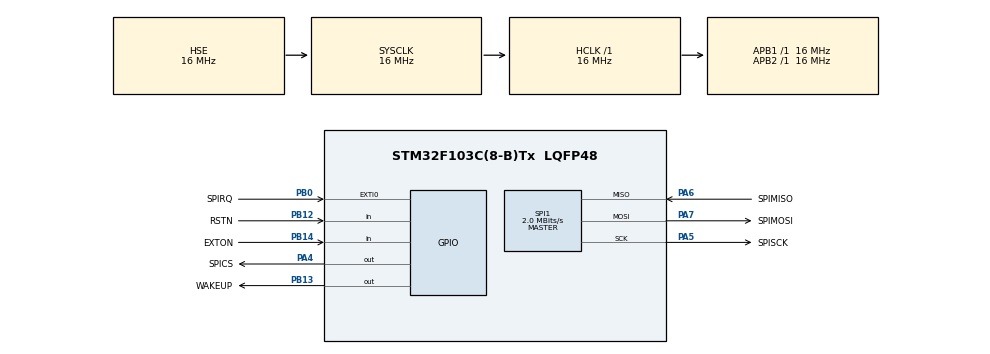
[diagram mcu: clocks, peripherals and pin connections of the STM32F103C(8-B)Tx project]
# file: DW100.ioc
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Mcu.Family=STM32F1
Mcu.Name=STM32F103C(8-B)Tx
Mcu.Package=LQFP48
NVIC.PriorityGroup=NVIC_PRIORITYGROUP_4
PA13.Mode=Serial_Wire
PA13.Signal=SYS_JTMS-SWDIO
PA14.Mode=Serial_Wire
PA14.Signal=SYS_JTCK-SWCLK
PA4.GPIO_Label=SPICS
PA4.Signal=GPIO_Output
PA5.GPIO_Label=SPISCK
PA5.Mode=Full_Duplex_Master
PA5.Signal=SPI1_SCK
PA6.GPIO_Label=SPIMISO
PA6.Mode=Full_Duplex_Master
PA6.Signal=SPI1_MISO
PA7.GPIO_Label=SPIMOSI
PA7.Mode=Full_Duplex_Master
PA7.Signal=SPI1_MOSI
PB0.GPIO_Label=SPIRQ
PB0.Signal=GPXTI0
PB12.GPIO_Label=RSTN
PB12.Signal=GPIO_Input
PB13.GPIO_Label=WAKEUP
PB13.GPIO_PuPd=GPIO_NOPULL
PB13.PinState=GPIO_PIN_RESET
PB13.Signal=GPIO_Output
PB14.GPIO_Label=EXTON
PB14.Signal=GPIO_Input
PD0-OSC_IN.Mode=HSE-External-Oscillator
PD0-OSC_IN.Signal=RCC_OSC_IN
PD1-OSC_OUT.Mode=HSE-External-Oscillator
PD1-OSC_OUT.Signal=RCC_OSC_OUT
ProjectManager.HeapSize=0x200
ProjectManager.StackSize=0x400
ProjectManager.TargetToolchain=STM32CubeIDE
RCC.AHBFreq_Value=16000000
RCC.APB1Freq_Value=16000000
RCC.APB1TimFreq_Value=16000000
RCC.APB2Freq_Value=16000000
RCC.APB2TimFreq_Value=16000000
RCC.HCLKFreq_Value=16000000
RCC.HSE_VALUE=16000000
RCC.SYSCLKFreq_VALUE=16000000
RCC.SYSCLKSource=RCC_SYSCLKSOURCE_HSE
SPI1.BaudRatePrescaler=SPI_BAUDRATEPRESCALER_8
SPI1.CalculateBaudRate=2.0 MBits/s
SPI1.Direction=SPI_DIRECTION_2LINES
SPI1.Mode=SPI_MODE_MASTER
SPI1.VirtualType=VM_MASTER
board=custom

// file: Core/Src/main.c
/* USER CODE BEGIN Header */
/**
  ******************************************************************************
  * @file           : main.c
  * @brief          : Main program body
  ******************************************************************************
  * @attention
  *
  * Copyright (c) 2025 STMicroelectronics.
  * All rights reserved.
  *
  * This software is licensed under terms that can be found in the LICENSE file
  * in the root directory of this software component.
  * If no LICENSE file comes with this software, it is provided AS-IS.
  *
  ******************************************************************************
  */
/* USER CODE END Header */
#include "main.h"

/* USER CODE BEGIN Includes */
#include "DWM1000.h"
/* USER CODE END Includes */

SPI_HandleTypeDef hspi1;

/* USER CODE BEGIN PV */
uint32_t DevID;
uint16_t pan_id, short_addr;
uint8_t dev_id[4]; // Buffer to store DEV_ID
uint8_t sys_cfg[4];
DW1000_Registers_t dw_registers;
uint8_t current_eui[8];
/* USER CODE END PV */

void SystemClock_Config(void);
static void MX_GPIO_Init(void);
static void MX_SPI1_Init(void);

int main(void)
{

  /* MCU Configuration--------------------------------------------------------*/

  /* Reset of all peripherals, Initializes the Flash interface and the Systick. */
  HAL_Init();

  /* Configure the system clock */
  SystemClock_Config();

  /* Initialize all configured peripherals */
  MX_GPIO_Init();
  MX_SPI1_Init();
  /* USER CODE BEGIN 2 */
  DevID= DW_ReadDevID();
  DW_ReadReg(DW_REG_SYS_CFG, sys_cfg, sizeof(sys_cfg));
  DW_ReadAllRegisters(&dw_registers);

  /* In your application code */
  uint8_t eui[8] = {0x01, 0x23, 0x45, 0x67, 0x89, 0xAB, 0xCD, 0xEF};

  if (DW_WriteAndVerifyEUI(eui) == HAL_OK) {
	  DW_ReadReg(DW_REG_EUI, current_eui, 8);

  } else {

      /* Debug output */

      DW_ReadReg(DW_REG_EUI, current_eui, 8);

      for (int i = 0; i < 8; i++) printf("%02X ", eui[i]);
      printf("\nActual:   ");
      for (int i = 0; i < 8; i++) printf("%02X ", current_eui[i]);
      printf("\n");
  }

  /* USER CODE END 2 */

  /* Infinite loop */
  while (1)
  {

    /* USER CODE BEGIN 3 */

	  /* Example: Send a UWB frame */
	  uint8_t frame_data[] = {0x41, 0x88, 0x00, 0xCA, 0xDE, 0xAD, 0xBE, 0xEF};

	  /* Configure for standard transmission */
	  if (DW_EnableTxMode(DW_TX_MODE_STANDARD) != HAL_OK) {

	  }

	  /* Disable TX when done */
	  DW_DisableTxMode();
	  HAL_Delay(100);

  }
  /* USER CODE END 3 */
}

void SystemClock_Config(void)
{
  RCC_OscInitTypeDef RCC_OscInitStruct = {0};
  RCC_ClkInitTypeDef RCC_ClkInitStruct = {0};

  /** Initializes the RCC Oscillators according to the specified parameters
  * in the RCC_OscInitTypeDef structure.
  */
  RCC_OscInitStruct.OscillatorType = RCC_OSCILLATORTYPE_HSE;
  RCC_OscInitStruct.HSEState = RCC_HSE_ON;
  RCC_OscInitStruct.PLL.PLLState = RCC_PLL_NONE;
  if (HAL_RCC_OscConfig(&RCC_OscInitStruct) != HAL_OK)
  {
    Error_Handler();
  }

  /** Initializes the CPU, AHB and APB buses clocks
  */
  RCC_ClkInitStruct.ClockType = RCC_CLOCKTYPE_HCLK|RCC_CLOCKTYPE_SYSCLK
                              |RCC_CLOCKTYPE_PCLK1|RCC_CLOCKTYPE_PCLK2;
  RCC_ClkInitStruct.SYSCLKSource = RCC_SYSCLKSOURCE_HSE;
  RCC_ClkInitStruct.AHBCLKDivider = RCC_SYSCLK_DIV1;
  RCC_ClkInitStruct.APB1CLKDivider = RCC_HCLK_DIV1;
  RCC_ClkInitStruct.APB2CLKDivider = RCC_HCLK_DIV1;

  if (HAL_RCC_ClockConfig(&RCC_ClkInitStruct, FLASH_LATENCY_0) != HAL_OK)
  {
    Error_Handler();
  }
}

static void MX_SPI1_Init(void)
{

  /* SPI1 parameter configuration*/
  hspi1.Instance = SPI1;
  hspi1.Init.Mode = SPI_MODE_MASTER;
  hspi1.Init.Direction = SPI_DIRECTION_2LINES;
  hspi1.Init.DataSize = SPI_DATASIZE_8BIT;
  hspi1.Init.CLKPolarity = SPI_POLARITY_LOW;
  hspi1.Init.CLKPhase = SPI_PHASE_1EDGE;
  hspi1.Init.NSS = SPI_NSS_SOFT;
  hspi1.Init.BaudRatePrescaler = SPI_BAUDRATEPRESCALER_8;
  hspi1.Init.FirstBit = SPI_FIRSTBIT_MSB;
  hspi1.Init.TIMode = SPI_TIMODE_DISABLE;
  hspi1.Init.CRCCalculation = SPI_CRCCALCULATION_DISABLE;
  hspi1.Init.CRCPolynomial = 10;
  if (HAL_SPI_Init(&hspi1) != HAL_OK)
  {
    Error_Handler();
  }

}

static void MX_GPIO_Init(void)
{
  GPIO_InitTypeDef GPIO_InitStruct = {0};

  /* GPIO Ports Clock Enable */
  __HAL_RCC_GPIOD_CLK_ENABLE();
  __HAL_RCC_GPIOA_CLK_ENABLE();
  __HAL_RCC_GPIOB_CLK_ENABLE();

  /*Configure GPIO pin Output Level */
  HAL_GPIO_WritePin(SPICS_GPIO_Port, SPICS_Pin, GPIO_PIN_RESET);

  /*Configure GPIO pin Output Level */
  HAL_GPIO_WritePin(WAKEUP_GPIO_Port, WAKEUP_Pin, GPIO_PIN_RESET);

  /*Configure GPIO pin : SPICS_Pin */
  GPIO_InitStruct.Pin = SPICS_Pin;
  GPIO_InitStruct.Mode = GPIO_MODE_OUTPUT_PP;
  GPIO_InitStruct.Pull = GPIO_NOPULL;
  GPIO_InitStruct.Speed = GPIO_SPEED_FREQ_LOW;
  HAL_GPIO_Init(SPICS_GPIO_Port, &GPIO_InitStruct);

  /*Configure GPIO pin : SPIRQ_Pin */
  GPIO_InitStruct.Pin = SPIRQ_Pin;
  GPIO_InitStruct.Mode = GPIO_MODE_IT_RISING;
  GPIO_InitStruct.Pull = GPIO_NOPULL;
  HAL_GPIO_Init(SPIRQ_GPIO_Port, &GPIO_InitStruct);

  /*Configure GPIO pins : RSTN_Pin EXTON_Pin */
  GPIO_InitStruct.Pin = RSTN_Pin|EXTON_Pin;
  GPIO_InitStruct.Mode = GPIO_MODE_INPUT;
  GPIO_InitStruct.Pull = GPIO_NOPULL;
  HAL_GPIO_Init(GPIOB, &GPIO_InitStruct);

  /*Configure GPIO pin : WAKEUP_Pin */
  GPIO_InitStruct.Pin = WAKEUP_Pin;
  GPIO_InitStruct.Mode = GPIO_MODE_OUTPUT_PP;
  GPIO_InitStruct.Pull = GPIO_NOPULL;
  GPIO_InitStruct.Speed = GPIO_SPEED_FREQ_LOW;
  HAL_GPIO_Init(WAKEUP_GPIO_Port, &GPIO_InitStruct);

}

void Error_Handler(void)
{
  __disable_irq();
  while (1)
  {
  }
}
